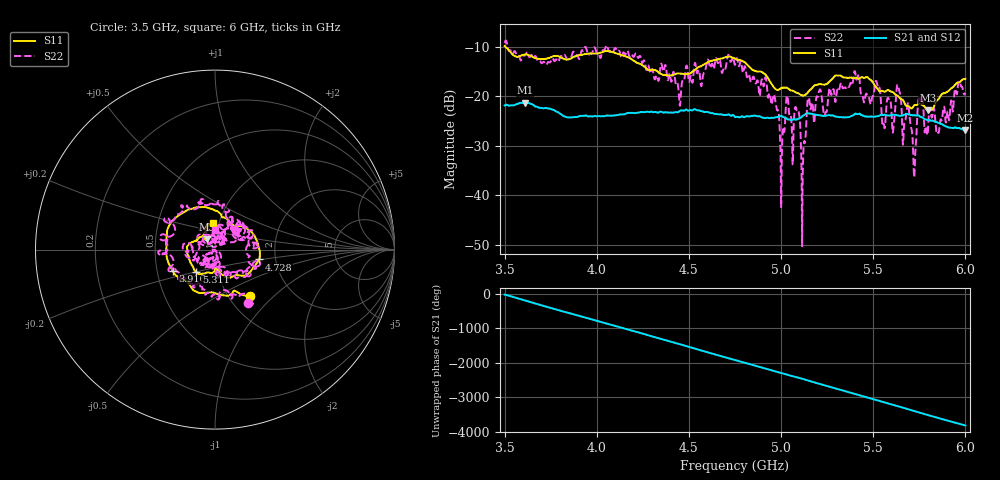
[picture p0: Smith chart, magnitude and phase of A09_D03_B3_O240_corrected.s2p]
! Created with skrf 1.9.0 (http://scikit-rf.org).
# Hz S RI R 50.0
!freq ReS11 ImS11 ReS21 ImS21 ReS12 ImS12 ReS22 ImS22
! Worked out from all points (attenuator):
!   1601 points, 3.5 GHz to 6 GHz, reference 50 ohm
!   highest |S21| = -21.25 dB at 3.611 GHz (marker M1); lowest = -26.8 dB at 5.998 GHz (marker M2)
!   lowest |S11| = -22.8 dB at 5.795 GHz (marker M3), VSWR 1.16, Z = 45.5 + j5.31 ohm
!   |S11| at or under -10 dB: 3.507 GHz to end of sweep
!   |S22| runs from -50.3 to -8.7 dB; largest |S21 - S12| = 0.00097
!   S11 on the Smith chart (normalised r, x): 3.5 GHz: 1.25, -0.72; 3.916 GHz: 0.61, -0.16; 4.728 GHz: 1.64, -0.19; 5.311 GHz: 0.79, -0.20; 6 GHz: 0.94, +0.29
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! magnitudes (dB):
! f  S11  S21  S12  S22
! 3.5 GHz  -9.8  -21.8  -21.8  -9.2
! 3.611 GHz  -11.5  -21.2  -21.3  -11.7
! 3.916 GHz  -11.6  -23.9  -23.9  -11.0
! 3.917 GHz  -11.6  -23.9  -23.9  -10.8
! 4.334 GHz  -15.1  -23.3  -23.2  -16.9
! 4.728 GHz  -12.0  -23.9  -23.8  -12.9
! 4.75 GHz  -12.3  -24.1  -24.1  -13.6
! 4.966 GHz  -18.4  -24.2  -24.2  -20.2
! 5.005 GHz  -18.2  -24.0  -24.0  -31.2
! 5.033 GHz  -18.2  -24.6  -24.5  -19.8
! 5.086 GHz  -19.3  -24.6  -24.6  -22.9
! 5.12 GHz  -19.8  -23.9  -23.8  -31.8
! 5.145 GHz  -19.2  -23.4  -23.3  -20.5
! 5.167 GHz  -18.3  -23.5  -23.5  -21.2
! 5.311 GHz  -15.8  -24.2  -24.1  -18.8
! 5.584 GHz  -18.8  -23.8  -23.8  -20.4
! 5.639 GHz  -20.1  -23.9  -23.9  -18.5
! 5.722 GHz  -21.8  -23.8  -23.7  -36.4
! 5.755 GHz  -21.5  -24.1  -24.0  -20.6
! 5.795 GHz  -22.8  -24.8  -24.7  -27.5
! 5.998 GHz  -16.5  -26.8  -26.7  -19.4
! 6 GHz  -16.4  -26.8  -26.7  -19.2
